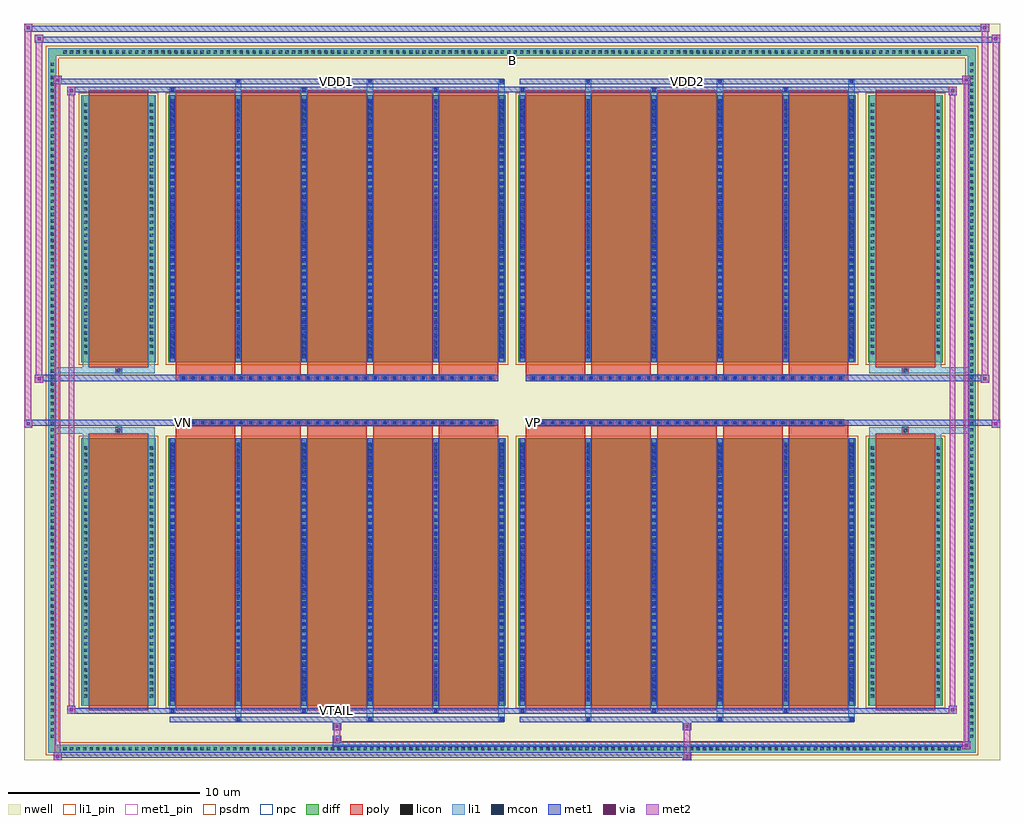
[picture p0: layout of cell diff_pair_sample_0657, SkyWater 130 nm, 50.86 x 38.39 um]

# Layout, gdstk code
import gdstk
lib = gdstk.Library(unit=1e-6, precision=5e-09)
def R(c, l, rs):  # rectangles x0, y0, x1, y1
    for r in rs: c.add(gdstk.rectangle(r[:2], r[2:], *l))
def A(c, l, x, y, w, h, nx, ny, dx, dy):  # array of equal rectangles
    R(c, l, [(x+i*dx, y+j*dy, x+i*dx+w, y+j*dy+h) for i in range(nx) for j in range(ny)])
def P(c, l, *ps):  # polygons
    for p in ps: c.add(gdstk.Polygon(p, *l))
nwell = (64, 20)
diff = (65, 20)
poly = (66, 20)
licon = (66, 44)
li1_pin = (67, 16)
li1 = (67, 20)
mcon = (67, 44)
met1_pin = (68, 16)
met1 = (68, 20)
via = (68, 44)
met2 = (69, 20)
psdm = (94, 20)
npc = (95, 20)

diff_pair_sample_0657 = lib.new_cell('diff_pair_sample_0657')
R(diff_pair_sample_0657, nwell, [(-25.43,-18.76,25.43,19.63), (-22.75,-16.95,-0.01,-0.805), (0.01,-16.95,22.75,-0.805), (-22.75,0.805,-0.01,16.95), (0.01,0.805,22.75,16.95)])
A(diff_pair_sample_0657, diff, -23.495, -18.36, 0.41, 0.41, 138, 2, 0.34, 36.31)
A(diff_pair_sample_0657, diff, -24.16, -17.715, 0.41, 0.41, 1, 104, 0, 0.34)
A(diff_pair_sample_0657, diff, 23.75, -17.715, 0.41, 0.41, 1, 104, 0, 0.34)
R(diff_pair_sample_0657, diff, [(-23.495,-18.36,23.495,-17.95), (-24.16,-17.715,-23.75,17.715), (23.75,-17.715,24.16,17.715), (-22.44,-15.905,-18.56,-1.985), (-17.92,-15.905,-0.32,-1.985), (0.32,-15.905,17.92,-1.985), (18.56,-15.905,22.44,-1.985), (-22.44,1.985,-18.56,15.905), (-17.92,1.985,-0.32,15.905), (0.32,1.985,17.92,15.905), (18.56,1.985,22.44,15.905), (-23.495,17.95,23.495,18.36)])
P(diff_pair_sample_0657, diff, [(24.16,18.36),(-24.16,18.36),(-24.16,-17.95),(-23.75,-17.95),(-23.75,17.95),(23.75,17.95),(23.75,-17.95),(-23.75,-17.95),(-24.16,-17.95),(-24.16,-18.36),(24.16,-18.36)])
A(diff_pair_sample_0657, poly, -17.53, -16.155, 3.1, 14.42, 5, 2, 3.43, 17.89)
A(diff_pair_sample_0657, poly, 0.71, -16.155, 3.1, 14.42, 5, 2, 3.43, 17.89)
A(diff_pair_sample_0657, poly, -17.53, -1.735, 3.1, 0.4, 5, 2, 3.43, 3.07)
A(diff_pair_sample_0657, poly, 0.71, -1.735, 3.1, 0.4, 5, 2, 3.43, 3.07)
A(diff_pair_sample_0657, poly, -17.285, -1.335, 0.33, 0.33, 33, 2, 0.5, 2.34)
A(diff_pair_sample_0657, poly, 0.955, -1.335, 0.33, 0.33, 33, 2, 0.5, 2.34)
R(diff_pair_sample_0657, poly, [(-22.05,-16.155,-18.95,-1.735), (18.95,-16.155,22.05,-1.735), (-20.665,-1.735,-20.335,-1.405), (-20.665,-1.735,-20.335,-1.405), (20.335,-1.735,20.665,-1.405), (20.335,-1.735,20.665,-1.405), (-17.53,-1.335,-0.71,-1.005), (0.71,-1.335,17.53,-1.005), (-17.53,1.005,-0.71,1.335), (0.71,1.005,17.53,1.335), (-20.665,1.405,-20.335,1.735), (-20.665,1.405,-20.335,1.735), (20.335,1.405,20.665,1.735), (20.335,1.405,20.665,1.735), (-22.05,1.735,-18.95,16.155), (18.95,1.735,22.05,16.155)])
A(diff_pair_sample_0657, licon, -23.375, -18.24, 0.17, 0.17, 138, 2, 0.34, 36.31)
A(diff_pair_sample_0657, licon, -24.04, -17.595, 0.17, 0.17, 1, 104, 0, 0.34)
A(diff_pair_sample_0657, licon, 23.87, -17.595, 0.17, 0.17, 1, 104, 0, 0.34)
A(diff_pair_sample_0657, licon, -22.3, -15.49, 0.17, 0.17, 1, 39, 0, 0.34)
A(diff_pair_sample_0657, licon, -18.87, -15.49, 0.17, 0.17, 1, 39, 0, 0.34)
A(diff_pair_sample_0657, licon, -17.78, -15.49, 0.17, 0.17, 6, 39, 3.43, 0.34)
A(diff_pair_sample_0657, licon, 0.46, -15.49, 0.17, 0.17, 6, 39, 3.43, 0.34)
A(diff_pair_sample_0657, licon, 18.7, -15.49, 0.17, 0.17, 1, 39, 0, 0.34)
A(diff_pair_sample_0657, licon, 22.13, -15.49, 0.17, 0.17, 1, 39, 0, 0.34)
A(diff_pair_sample_0657, licon, -17.205, -1.255, 0.17, 0.17, 33, 2, 0.5, 2.34)
A(diff_pair_sample_0657, licon, 1.035, -1.255, 0.17, 0.17, 33, 2, 0.5, 2.34)
A(diff_pair_sample_0657, licon, -22.3, 2.4, 0.17, 0.17, 1, 39, 0, 0.34)
A(diff_pair_sample_0657, licon, -18.87, 2.4, 0.17, 0.17, 1, 39, 0, 0.34)
A(diff_pair_sample_0657, licon, -17.78, 2.4, 0.17, 0.17, 6, 39, 3.43, 0.34)
A(diff_pair_sample_0657, licon, 0.46, 2.4, 0.17, 0.17, 6, 39, 3.43, 0.34)
A(diff_pair_sample_0657, licon, 18.7, 2.4, 0.17, 0.17, 1, 39, 0, 0.34)
A(diff_pair_sample_0657, licon, 22.13, 2.4, 0.17, 0.17, 1, 39, 0, 0.34)
R(diff_pair_sample_0657, licon, [(-20.585,-1.655,-20.415,-1.485), (20.415,-1.655,20.585,-1.485), (-20.585,1.485,-20.415,1.655), (20.415,1.485,20.585,1.655)])
R(diff_pair_sample_0657, li1_pin, [(-0.25,17.45,0.25,17.95)])
A(diff_pair_sample_0657, li1, -23.455, -18.32, 0.33, 0.33, 138, 2, 0.34, 36.31)
A(diff_pair_sample_0657, li1, -24.12, -17.675, 0.33, 0.33, 1, 104, 0, 0.34)
A(diff_pair_sample_0657, li1, 23.79, -17.675, 0.33, 0.33, 1, 104, 0, 0.34)
A(diff_pair_sample_0657, li1, -14.43, -16.71, 0.33, 0.805, 3, 2, 6.86, 32.615)
A(diff_pair_sample_0657, li1, -14.35, -16.71, 0.17, 0.17, 3, 2, 6.86, 33.25)
A(diff_pair_sample_0657, li1, 3.81, -16.71, 0.33, 0.805, 3, 2, 6.86, 32.615)
A(diff_pair_sample_0657, li1, 3.89, -16.71, 0.17, 0.17, 3, 2, 6.86, 33.25)
A(diff_pair_sample_0657, li1, -17.86, -16.28, 0.33, 0.375, 3, 2, 6.86, 32.185)
A(diff_pair_sample_0657, li1, -17.78, -16.28, 0.17, 0.17, 3, 2, 6.86, 32.39)
A(diff_pair_sample_0657, li1, 0.38, -16.28, 0.33, 0.375, 3, 2, 6.86, 32.185)
A(diff_pair_sample_0657, li1, 0.46, -16.28, 0.17, 0.17, 3, 2, 6.86, 32.39)
A(diff_pair_sample_0657, li1, -17.86, -15.905, 0.33, 13.92, 6, 2, 3.43, 17.89)
A(diff_pair_sample_0657, li1, 0.38, -15.905, 0.33, 13.92, 6, 2, 3.43, 17.89)
A(diff_pair_sample_0657, li1, -17.78, -15.69, 0.17, 0.17, 6, 38, 3.43, 0.36)
A(diff_pair_sample_0657, li1, -17.78, -15.69, 0.17, 13.49, 6, 2, 3.43, 17.89)
A(diff_pair_sample_0657, li1, 0.46, -15.69, 0.17, 0.17, 6, 38, 3.43, 0.36)
A(diff_pair_sample_0657, li1, 0.46, -15.69, 0.17, 13.49, 6, 2, 3.43, 17.89)
A(diff_pair_sample_0657, li1, -22.38, -15.57, 0.33, 0.33, 1, 39, 0, 0.34)
A(diff_pair_sample_0657, li1, -18.95, -15.57, 0.33, 0.33, 1, 39, 0, 0.34)
A(diff_pair_sample_0657, li1, -17.86, -15.57, 0.33, 0.33, 6, 39, 3.43, 0.34)
A(diff_pair_sample_0657, li1, 0.38, -15.57, 0.33, 0.33, 6, 39, 3.43, 0.34)
A(diff_pair_sample_0657, li1, 18.62, -15.57, 0.33, 0.33, 1, 39, 0, 0.34)
A(diff_pair_sample_0657, li1, 22.05, -15.57, 0.33, 0.33, 1, 39, 0, 0.34)
A(diff_pair_sample_0657, li1, -17.285, -1.335, 0.33, 0.33, 33, 2, 0.5, 2.34)
A(diff_pair_sample_0657, li1, 0.955, -1.335, 0.33, 0.33, 33, 2, 0.5, 2.34)
A(diff_pair_sample_0657, li1, -17.78, 2.2, 0.17, 0.17, 6, 38, 3.43, 0.36)
A(diff_pair_sample_0657, li1, 0.46, 2.2, 0.17, 0.17, 6, 38, 3.43, 0.36)
A(diff_pair_sample_0657, li1, -22.38, 2.32, 0.33, 0.33, 1, 39, 0, 0.34)
A(diff_pair_sample_0657, li1, -18.95, 2.32, 0.33, 0.33, 1, 39, 0, 0.34)
A(diff_pair_sample_0657, li1, -17.86, 2.32, 0.33, 0.33, 6, 39, 3.43, 0.34)
A(diff_pair_sample_0657, li1, 0.38, 2.32, 0.33, 0.33, 6, 39, 3.43, 0.34)
A(diff_pair_sample_0657, li1, 18.62, 2.32, 0.33, 0.33, 1, 39, 0, 0.34)
A(diff_pair_sample_0657, li1, 22.05, 2.32, 0.33, 0.33, 1, 39, 0, 0.34)
R(diff_pair_sample_0657, li1, [(-24.16,-18.36,-23.75,-17.95), (-24.16,-18.36,-23.75,-17.95), (-23.75,-18.36,23.75,-17.95), (23.75,-18.36,24.16,-17.95), (23.75,-18.36,24.16,-17.95), (-24.16,-17.95,-23.75,17.95), (23.75,-17.95,24.16,17.95), (-22.38,-15.905,-22.05,-1.985), (-18.95,-15.905,-18.62,-1.985), (18.62,-15.905,18.95,-1.985), (22.05,-15.905,22.38,-1.985), (-22.38,-1.985,-22.05,-1.405), (-18.95,-1.985,-18.62,-1.405), (18.62,-1.985,18.95,-1.405), (22.05,-1.985,22.38,-1.405), (-24.16,-1.735,-20.665,-1.405), (-22.38,-1.735,-20.665,-1.405), (-20.665,-1.735,-20.335,-1.405), (-20.335,-1.735,-18.62,-1.405), (18.62,-1.735,20.335,-1.405), (20.335,-1.735,20.665,-1.405), (20.335,-1.735,24.16,-1.405), (20.665,-1.735,22.38,-1.405), (-24.16,1.405,-20.665,1.735), (-22.38,1.405,-20.665,1.735), (-22.38,1.405,-22.05,1.985), (-20.665,1.405,-20.335,1.735), (-20.335,1.405,-18.62,1.735), (-18.95,1.405,-18.62,1.985), (18.62,1.405,20.335,1.735), (18.62,1.405,18.95,1.985), (20.335,1.405,20.665,1.735), (20.335,1.405,24.16,1.735), (20.665,1.405,22.38,1.735), (22.05,1.405,22.38,1.985), (-22.38,1.985,-22.05,15.905), (-18.95,1.985,-18.62,15.905), (18.62,1.985,18.95,15.905), (22.05,1.985,22.38,15.905), (-24.16,17.95,-23.75,18.36), (-24.16,17.95,-23.75,18.36), (-23.75,17.95,23.75,18.36), (23.75,17.95,24.16,18.36), (23.75,17.95,24.16,18.36)])
A(diff_pair_sample_0657, mcon, -14.35, -16.71, 0.17, 0.17, 3, 2, 6.86, 33.25)
A(diff_pair_sample_0657, mcon, 3.89, -16.71, 0.17, 0.17, 3, 2, 6.86, 33.25)
A(diff_pair_sample_0657, mcon, -17.78, -16.28, 0.17, 0.17, 3, 2, 6.86, 32.39)
A(diff_pair_sample_0657, mcon, 0.46, -16.28, 0.17, 0.17, 3, 2, 6.86, 32.39)
A(diff_pair_sample_0657, mcon, -17.78, -15.69, 0.17, 0.17, 6, 38, 3.43, 0.36)
A(diff_pair_sample_0657, mcon, 0.46, -15.69, 0.17, 0.17, 6, 38, 3.43, 0.36)
A(diff_pair_sample_0657, mcon, -17.205, -1.255, 0.17, 0.17, 33, 2, 0.5, 2.34)
A(diff_pair_sample_0657, mcon, 1.035, -1.255, 0.17, 0.17, 33, 2, 0.5, 2.34)
A(diff_pair_sample_0657, mcon, -17.78, 2.2, 0.17, 0.17, 6, 38, 3.43, 0.36)
A(diff_pair_sample_0657, mcon, 0.46, 2.2, 0.17, 0.17, 6, 38, 3.43, 0.36)
R(diff_pair_sample_0657, met1_pin, [(-9.255,-16.32,-8.985,-16.05), (-17.255,-1.295,-16.985,-1.025), (0.985,-1.295,1.255,-1.025), (-9.255,16.5,-8.985,16.77), (8.985,16.5,9.255,16.77)])
A(diff_pair_sample_0657, met1, -14.41, -16.77, 0.29, 0.29, 3, 2, 6.86, 33.25)
A(diff_pair_sample_0657, met1, 3.83, -16.77, 0.29, 0.29, 3, 2, 6.86, 33.25)
A(diff_pair_sample_0657, met1, -17.84, -16.34, 0.29, 0.29, 3, 2, 6.86, 32.39)
A(diff_pair_sample_0657, met1, 0.4, -16.34, 0.29, 0.29, 3, 2, 6.86, 32.39)
A(diff_pair_sample_0657, met1, -17.84, -15.905, 0.29, 13.92, 6, 2, 3.43, 17.89)
A(diff_pair_sample_0657, met1, 0.4, -15.905, 0.29, 13.92, 6, 2, 3.43, 17.89)
A(diff_pair_sample_0657, met1, -17.84, -15.75, 0.29, 0.29, 6, 38, 3.43, 0.36)
A(diff_pair_sample_0657, met1, 0.4, -15.75, 0.29, 0.29, 6, 38, 3.43, 0.36)
A(diff_pair_sample_0657, met1, -17.265, -1.315, 0.29, 0.29, 33, 2, 0.5, 2.34)
A(diff_pair_sample_0657, met1, 0.975, -1.315, 0.29, 0.29, 33, 2, 0.5, 2.34)
A(diff_pair_sample_0657, met1, -17.84, 2.14, 0.29, 0.29, 6, 38, 3.43, 0.36)
A(diff_pair_sample_0657, met1, 0.4, 2.14, 0.29, 0.29, 6, 38, 3.43, 0.36)
R(diff_pair_sample_0657, met1, [(-23.89,-18.76,-23.46,-18.33), (8.905,-18.76,9.335,-18.33), (-23.89,-18.62,9.335,-18.33), (23.46,-18.19,23.89,-17.76), (-9.335,-18.05,23.89,-17.76), (-9.335,-17.91,-8.905,-17.48), (-9.335,-17.2,-8.905,-16.77), (8.905,-17.2,9.335,-16.77), (-17.84,-16.77,-0.4,-16.48), (0.4,-16.77,17.84,-16.48), (-23.18,-16.34,-22.75,-15.91), (-23.18,-16.34,-17.84,-16.05), (-17.84,-16.34,-0.4,-16.05), (-0.4,-16.34,0.4,-16.05), (0.4,-16.34,17.84,-16.05), (17.84,-16.34,23.18,-16.05), (22.75,-16.34,23.18,-15.91), (-25.43,-1.435,-25,-1.005), (25,-1.435,25.43,-1.005), (-25.43,-1.335,-0.71,-1.005), (-17.53,-1.335,-0.71,-1.005), (0.71,-1.335,17.53,-1.005), (0.71,-1.335,25.43,-1.005), (-24.86,0.905,-24.43,1.335), (24.43,0.905,24.86,1.335), (-24.86,1.005,-17.53,1.335), (-17.53,1.005,-0.71,1.335), (0.71,1.005,17.53,1.335), (17.53,1.005,24.86,1.335), (-23.18,15.91,-22.75,16.34), (22.75,15.91,23.18,16.34), (-23.18,16.05,-17.84,16.34), (-17.84,16.05,-0.4,16.34), (-0.4,16.05,0.4,16.34), (0.4,16.05,17.84,16.34), (17.84,16.05,23.18,16.34), (-23.89,16.48,-23.46,16.91), (-23.89,16.48,-17.84,16.77), (-17.84,16.48,-0.4,16.77), (0.4,16.48,17.84,16.77), (17.84,16.48,23.89,16.77), (23.46,16.48,23.89,16.91), (-24.86,18.63,-24.43,19.06), (-24.86,18.63,-22.75,18.96), (-22.75,18.63,22.75,18.96), (22.75,18.63,25.43,18.96), (25,18.63,25.43,19.06), (-25.43,19.2,-25,19.63), (-25.43,19.2,-22.75,19.53), (-22.75,19.2,22.75,19.53), (22.75,19.2,24.86,19.53), (24.43,19.2,24.86,19.63)])
R(diff_pair_sample_0657, via, [(-23.75,-18.62,-23.6,-18.47), (9.045,-18.62,9.195,-18.47), (23.6,-18.05,23.75,-17.9), (-9.195,-17.77,-9.045,-17.62), (-9.195,-17.06,-9.045,-16.91), (9.045,-17.06,9.195,-16.91), (-23.04,-16.2,-22.89,-16.05), (22.89,-16.2,23.04,-16.05), (-25.29,-1.295,-25.14,-1.145), (25.14,-1.295,25.29,-1.145), (-24.72,1.045,-24.57,1.195), (24.57,1.045,24.72,1.195), (-23.04,16.05,-22.89,16.2), (22.89,16.05,23.04,16.2), (-23.75,16.62,-23.6,16.77), (23.6,16.62,23.75,16.77), (-24.72,18.77,-24.57,18.92), (25.14,18.77,25.29,18.92), (-25.29,19.34,-25.14,19.49), (24.57,19.34,24.72,19.49)])
R(diff_pair_sample_0657, met2, [(-23.89,-18.76,-23.46,-18.33), (-23.82,-18.76,-23.53,16.91), (-23.53,-18.76,-23.46,-18.33), (-23.84,-18.71,-23.51,-18.38), (8.955,-18.71,9.285,-18.38), (8.955,-18.38,9.285,-17.15), (23.46,-18.19,23.89,-17.76), (23.53,-18.19,23.82,16.91), (23.82,-18.19,23.89,-17.76), (23.51,-18.14,23.84,-17.81), (-9.285,-17.86,-8.955,-17.53), (-9.285,-17.53,-8.955,-17.15), (-9.285,-17.15,-8.955,-16.82), (8.955,-17.15,9.285,-16.82), (-23.18,-16.34,-22.75,-15.91), (-23.11,-16.34,-22.82,16.34), (-22.82,-16.34,-22.75,-15.91), (22.75,-16.34,23.18,-15.91), (22.82,-16.34,23.11,16.34), (23.11,-16.34,23.18,-15.91), (-23.13,-16.29,-22.8,-15.96), (22.8,-16.29,23.13,-15.96), (-25.43,-1.435,-25,-1.005), (-25.38,-1.435,-25.05,19.63), (-25.05,-1.435,-25,-1.005), (25,-1.435,25.43,-1.005), (25.05,-1.435,25.38,19.06), (25.38,-1.435,25.43,-1.005), (-25.38,-1.385,-25.05,-1.055), (25.05,-1.385,25.38,-1.055), (-24.86,0.905,-24.43,1.335), (-24.81,0.905,-24.48,19.06), (-24.48,0.905,-24.43,1.335), (24.43,0.905,24.86,1.335), (24.48,0.905,24.81,19.63), (24.81,0.905,24.86,1.335), (-24.81,0.955,-24.48,1.285), (24.48,0.955,24.81,1.285), (-23.18,15.91,-22.75,16.34), (-22.82,15.91,-22.75,16.34), (22.75,15.91,23.18,16.34), (23.11,15.91,23.18,16.34), (-23.13,15.96,-22.8,16.29), (22.8,15.96,23.13,16.29), (-23.89,16.48,-23.46,16.91), (-23.53,16.48,-23.46,16.91), (23.46,16.48,23.89,16.91), (23.82,16.48,23.89,16.91), (-23.84,16.53,-23.51,16.86), (23.51,16.53,23.84,16.86), (-24.86,18.63,-24.43,19.06), (-24.48,18.63,-24.43,19.06), (25,18.63,25.43,19.06), (25.38,18.63,25.43,19.06), (-24.81,18.68,-24.48,19.01), (25.05,18.68,25.38,19.01), (-25.43,19.2,-25,19.63), (-25.05,19.2,-25,19.63), (24.43,19.2,24.86,19.63), (24.81,19.2,24.86,19.63), (-25.38,19.25,-25.05,19.58), (24.48,19.25,24.81,19.58)])
R(diff_pair_sample_0657, psdm, [(-22.57,-16.035,-18.43,-1.855), (-18.05,-16.035,-0.19,-1.855), (0.19,-16.035,18.05,-1.855), (18.43,-16.035,22.57,-1.855), (-22.57,1.855,-18.43,16.035), (-18.05,1.855,-0.19,16.035), (0.19,1.855,18.05,16.035), (18.43,1.855,22.57,16.035)])
P(diff_pair_sample_0657, psdm, [(24.29,18.49),(-24.29,18.49),(-24.29,-17.82),(-23.62,-17.82),(-23.62,17.82),(23.62,17.82),(23.62,-17.82),(-23.62,-17.82),(-24.29,-17.82),(-24.29,-18.49),(24.29,-18.49)])
A(diff_pair_sample_0657, npc, -17.305, -1.355, 0.37, 0.37, 33, 2, 0.5, 2.34)
A(diff_pair_sample_0657, npc, 0.935, -1.355, 0.37, 0.37, 33, 2, 0.5, 2.34)
R(diff_pair_sample_0657, npc, [(-20.685,-1.755,-20.315,-1.385), (20.315,-1.755,20.685,-1.385), (-17.305,-1.355,-16.435,-0.985), (-17.305,-1.355,-16.435,-0.985), (-16.805,-1.355,-15.935,-0.985), (-16.805,-1.355,-15.935,-0.985), (-16.305,-1.355,-15.435,-0.985), (-16.305,-1.355,-15.435,-0.985), (-15.805,-1.355,-14.935,-0.985), (-15.805,-1.355,-14.935,-0.985), (-15.305,-1.355,-14.435,-0.985), (-15.305,-1.355,-14.435,-0.985), (-14.805,-1.355,-13.935,-0.985), (-14.805,-1.355,-13.935,-0.985), (-14.305,-1.355,-13.435,-0.985), (-14.305,-1.355,-13.435,-0.985), (-13.805,-1.355,-12.935,-0.985), (-13.805,-1.355,-12.935,-0.985), (-13.305,-1.355,-12.435,-0.985), (-13.305,-1.355,-12.435,-0.985), (-12.805,-1.355,-11.935,-0.985), (-12.805,-1.355,-11.935,-0.985), (-12.305,-1.355,-11.435,-0.985), (-12.305,-1.355,-11.435,-0.985), (-11.805,-1.355,-10.935,-0.985), (-11.805,-1.355,-10.935,-0.985), (-11.305,-1.355,-10.435,-0.985), (-11.305,-1.355,-10.435,-0.985), (-10.805,-1.355,-9.935,-0.985), (-10.805,-1.355,-9.935,-0.985), (-10.305,-1.355,-9.435,-0.985), (-10.305,-1.355,-9.435,-0.985), (-9.805,-1.355,-8.935,-0.985), (-9.805,-1.355,-8.935,-0.985), (-9.305,-1.355,-8.435,-0.985), (-9.305,-1.355,-8.435,-0.985), (-8.805,-1.355,-7.935,-0.985), (-8.805,-1.355,-7.935,-0.985), (-8.305,-1.355,-7.435,-0.985), (-8.305,-1.355,-7.435,-0.985), (-7.805,-1.355,-6.935,-0.985), (-7.805,-1.355,-6.935,-0.985), (-7.305,-1.355,-6.435,-0.985), (-7.305,-1.355,-6.435,-0.985), (-6.805,-1.355,-5.935,-0.985), (-6.805,-1.355,-5.935,-0.985), (-6.305,-1.355,-5.435,-0.985), (-6.305,-1.355,-5.435,-0.985), (-5.805,-1.355,-4.935,-0.985), (-5.805,-1.355,-4.935,-0.985), (-5.305,-1.355,-4.435,-0.985), (-5.305,-1.355,-4.435,-0.985), (-4.805,-1.355,-3.935,-0.985), (-4.805,-1.355,-3.935,-0.985), (-4.305,-1.355,-3.435,-0.985), (-4.305,-1.355,-3.435,-0.985), (-3.805,-1.355,-2.935,-0.985), (-3.805,-1.355,-2.935,-0.985), (-3.305,-1.355,-2.435,-0.985), (-3.305,-1.355,-2.435,-0.985), (-2.805,-1.355,-1.935,-0.985), (-2.805,-1.355,-1.935,-0.985), (-2.305,-1.355,-1.435,-0.985), (-2.305,-1.355,-1.435,-0.985), (-1.805,-1.355,-0.935,-0.985), (-1.805,-1.355,-0.935,-0.985), (0.935,-1.355,1.805,-0.985), (0.935,-1.355,1.805,-0.985), (1.435,-1.355,2.305,-0.985), (1.435,-1.355,2.305,-0.985), (1.935,-1.355,2.805,-0.985), (1.935,-1.355,2.805,-0.985), (2.435,-1.355,3.305,-0.985), (2.435,-1.355,3.305,-0.985), (2.935,-1.355,3.805,-0.985), (2.935,-1.355,3.805,-0.985), (3.435,-1.355,4.305,-0.985), (3.435,-1.355,4.305,-0.985), (3.935,-1.355,4.805,-0.985), (3.935,-1.355,4.805,-0.985), (4.435,-1.355,5.305,-0.985), (4.435,-1.355,5.305,-0.985), (4.935,-1.355,5.805,-0.985), (4.935,-1.355,5.805,-0.985), (5.435,-1.355,6.305,-0.985), (5.435,-1.355,6.305,-0.985), (5.935,-1.355,6.805,-0.985), (5.935,-1.355,6.805,-0.985), (6.435,-1.355,7.305,-0.985), (6.435,-1.355,7.305,-0.985), (6.935,-1.355,7.805,-0.985), (6.935,-1.355,7.805,-0.985), (7.435,-1.355,8.305,-0.985), (7.435,-1.355,8.305,-0.985), (7.935,-1.355,8.805,-0.985), (7.935,-1.355,8.805,-0.985), (8.435,-1.355,9.305,-0.985), (8.435,-1.355,9.305,-0.985), (8.935,-1.355,9.805,-0.985), (8.935,-1.355,9.805,-0.985), (9.435,-1.355,10.305,-0.985), (9.435,-1.355,10.305,-0.985), (9.935,-1.355,10.805,-0.985), (9.935,-1.355,10.805,-0.985), (10.435,-1.355,11.305,-0.985), (10.435,-1.355,11.305,-0.985), (10.935,-1.355,11.805,-0.985), (10.935,-1.355,11.805,-0.985), (11.435,-1.355,12.305,-0.985), (11.435,-1.355,12.305,-0.985), (11.935,-1.355,12.805,-0.985), (11.935,-1.355,12.805,-0.985), (12.435,-1.355,13.305,-0.985), (12.435,-1.355,13.305,-0.985), (12.935,-1.355,13.805,-0.985), (12.935,-1.355,13.805,-0.985), (13.435,-1.355,14.305,-0.985), (13.435,-1.355,14.305,-0.985), (13.935,-1.355,14.805,-0.985), (13.935,-1.355,14.805,-0.985), (14.435,-1.355,15.305,-0.985), (14.435,-1.355,15.305,-0.985), (14.935,-1.355,15.805,-0.985), (14.935,-1.355,15.805,-0.985), (15.435,-1.355,16.305,-0.985), (15.435,-1.355,16.305,-0.985), (15.935,-1.355,16.805,-0.985), (15.935,-1.355,16.805,-0.985), (16.435,-1.355,17.305,-0.985), (16.435,-1.355,17.305,-0.985), (-17.305,0.985,-16.435,1.355), (-17.305,0.985,-16.435,1.355), (-16.805,0.985,-15.935,1.355), (-16.805,0.985,-15.935,1.355), (-16.305,0.985,-15.435,1.355), (-16.305,0.985,-15.435,1.355), (-15.805,0.985,-14.935,1.355), (-15.805,0.985,-14.935,1.355), (-15.305,0.985,-14.435,1.355), (-15.305,0.985,-14.435,1.355), (-14.805,0.985,-13.935,1.355), (-14.805,0.985,-13.935,1.355), (-14.305,0.985,-13.435,1.355), (-14.305,0.985,-13.435,1.355), (-13.805,0.985,-12.935,1.355), (-13.805,0.985,-12.935,1.355), (-13.305,0.985,-12.435,1.355), (-13.305,0.985,-12.435,1.355), (-12.805,0.985,-11.935,1.355), (-12.805,0.985,-11.935,1.355), (-12.305,0.985,-11.435,1.355), (-12.305,0.985,-11.435,1.355), (-11.805,0.985,-10.935,1.355), (-11.805,0.985,-10.935,1.355), (-11.305,0.985,-10.435,1.355), (-11.305,0.985,-10.435,1.355), (-10.805,0.985,-9.935,1.355), (-10.805,0.985,-9.935,1.355), (-10.305,0.985,-9.435,1.355), (-10.305,0.985,-9.435,1.355), (-9.805,0.985,-8.935,1.355), (-9.805,0.985,-8.935,1.355), (-9.305,0.985,-8.435,1.355), (-9.305,0.985,-8.435,1.355), (-8.805,0.985,-7.935,1.355), (-8.805,0.985,-7.935,1.355), (-8.305,0.985,-7.435,1.355), (-8.305,0.985,-7.435,1.355), (-7.805,0.985,-6.935,1.355), (-7.805,0.985,-6.935,1.355), (-7.305,0.985,-6.435,1.355), (-7.305,0.985,-6.435,1.355), (-6.805,0.985,-5.935,1.355), (-6.805,0.985,-5.935,1.355), (-6.305,0.985,-5.435,1.355), (-6.305,0.985,-5.435,1.355), (-5.805,0.985,-4.935,1.355), (-5.805,0.985,-4.935,1.355), (-5.305,0.985,-4.435,1.355), (-5.305,0.985,-4.435,1.355), (-4.805,0.985,-3.935,1.355), (-4.805,0.985,-3.935,1.355), (-4.305,0.985,-3.435,1.355), (-4.305,0.985,-3.435,1.355), (-3.805,0.985,-2.935,1.355), (-3.805,0.985,-2.935,1.355), (-3.305,0.985,-2.435,1.355), (-3.305,0.985,-2.435,1.355), (-2.805,0.985,-1.935,1.355), (-2.805,0.985,-1.935,1.355), (-2.305,0.985,-1.435,1.355), (-2.305,0.985,-1.435,1.355), (-1.805,0.985,-0.935,1.355), (-1.805,0.985,-0.935,1.355), (0.935,0.985,1.805,1.355), (0.935,0.985,1.805,1.355), (1.435,0.985,2.305,1.355), (1.435,0.985,2.305,1.355), (1.935,0.985,2.805,1.355), (1.935,0.985,2.805,1.355), (2.435,0.985,3.305,1.355), (2.435,0.985,3.305,1.355), (2.935,0.985,3.805,1.355), (2.935,0.985,3.805,1.355), (3.435,0.985,4.305,1.355), (3.435,0.985,4.305,1.355), (3.935,0.985,4.805,1.355), (3.935,0.985,4.805,1.355), (4.435,0.985,5.305,1.355), (4.435,0.985,5.305,1.355), (4.935,0.985,5.805,1.355), (4.935,0.985,5.805,1.355), (5.435,0.985,6.305,1.355), (5.435,0.985,6.305,1.355), (5.935,0.985,6.805,1.355), (5.935,0.985,6.805,1.355), (6.435,0.985,7.305,1.355), (6.435,0.985,7.305,1.355), (6.935,0.985,7.805,1.355), (6.935,0.985,7.805,1.355), (7.435,0.985,8.305,1.355), (7.435,0.985,8.305,1.355), (7.935,0.985,8.805,1.355), (7.935,0.985,8.805,1.355), (8.435,0.985,9.305,1.355), (8.435,0.985,9.305,1.355), (8.935,0.985,9.805,1.355), (8.935,0.985,9.805,1.355), (9.435,0.985,10.305,1.355), (9.435,0.985,10.305,1.355), (9.935,0.985,10.805,1.355), (9.935,0.985,10.805,1.355), (10.435,0.985,11.305,1.355), (10.435,0.985,11.305,1.355), (10.935,0.985,11.805,1.355), (10.935,0.985,11.805,1.355), (11.435,0.985,12.305,1.355), (11.435,0.985,12.305,1.355), (11.935,0.985,12.805,1.355), (11.935,0.985,12.805,1.355), (12.435,0.985,13.305,1.355), (12.435,0.985,13.305,1.355), (12.935,0.985,13.805,1.355), (12.935,0.985,13.805,1.355), (13.435,0.985,14.305,1.355), (13.435,0.985,14.305,1.355), (13.935,0.985,14.805,1.355), (13.935,0.985,14.805,1.355), (14.435,0.985,15.305,1.355), (14.435,0.985,15.305,1.355), (14.935,0.985,15.805,1.355), (14.935,0.985,15.805,1.355), (15.435,0.985,16.305,1.355), (15.435,0.985,16.305,1.355), (15.935,0.985,16.805,1.355), (15.935,0.985,16.805,1.355), (16.435,0.985,17.305,1.355), (16.435,0.985,17.305,1.355), (-20.685,1.385,-20.315,1.755), (20.315,1.385,20.685,1.755)])
diff_pair_sample_0657.add(gdstk.Label('VTAIL', (-9.12,-16.185), layer=68, texttype=5))
diff_pair_sample_0657.add(gdstk.Label('VN', (-17.12,-1.16), layer=68, texttype=5))
diff_pair_sample_0657.add(gdstk.Label('VP', (1.12,-1.16), layer=68, texttype=5))
diff_pair_sample_0657.add(gdstk.Label('B', (0,17.7), layer=67, texttype=5))
diff_pair_sample_0657.add(gdstk.Label('VDD2', (9.12,16.635), layer=68, texttype=5))
diff_pair_sample_0657.add(gdstk.Label('VDD1', (-9.12,16.635), layer=68, texttype=5))

lib.write_gds('diff_pair_sample_0657.gds')
